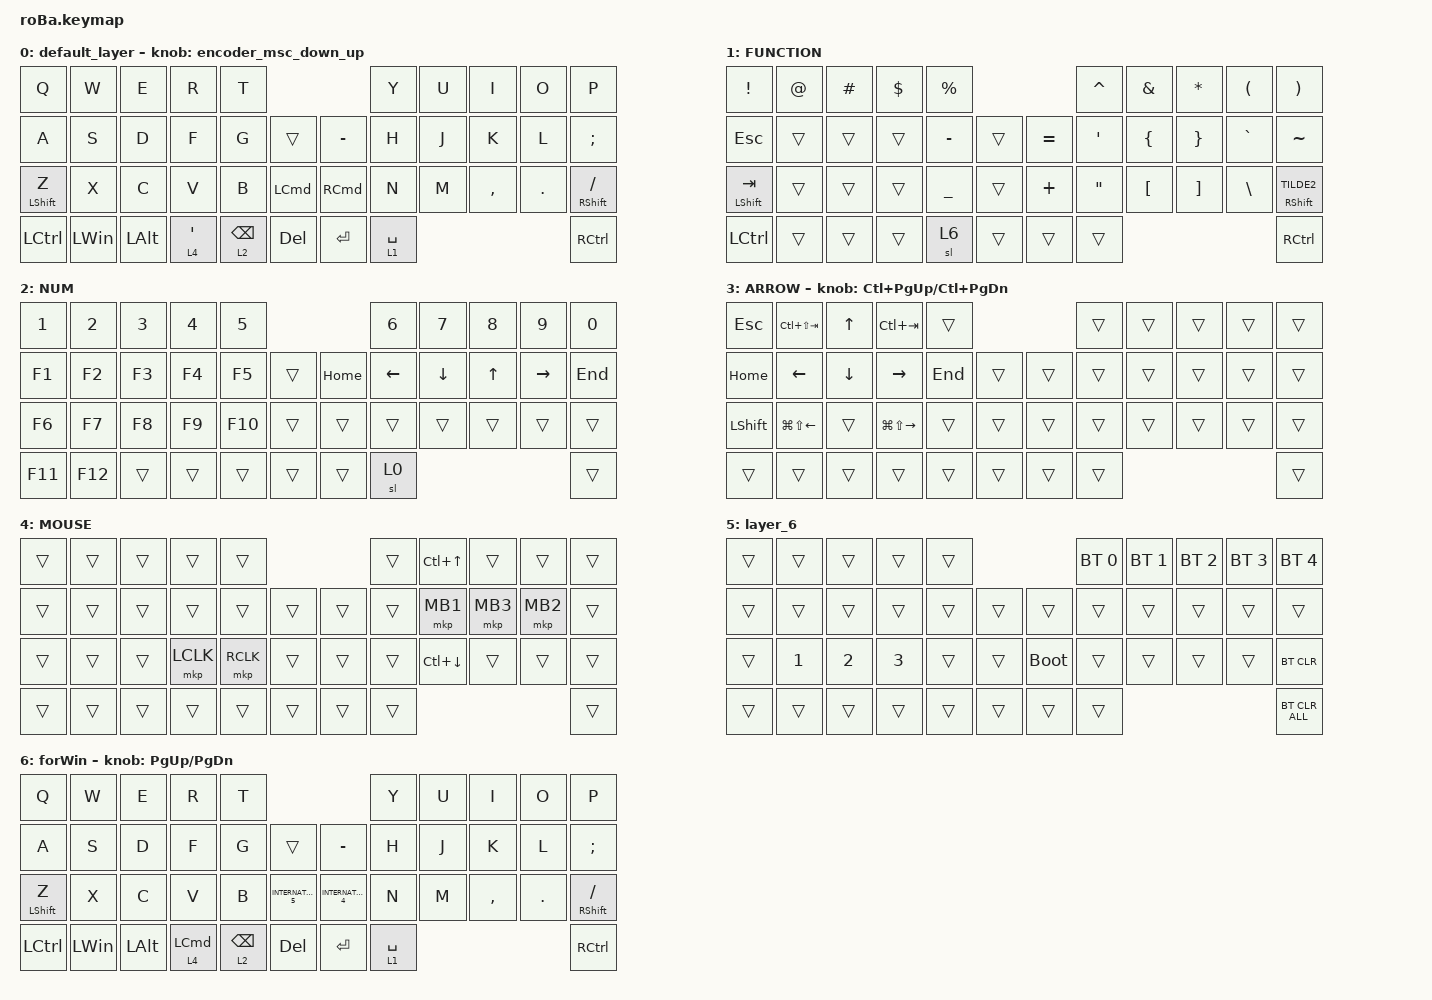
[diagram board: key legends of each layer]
#include <behaviors.dtsi>
#include <dt-bindings/zmk/bt.h>
#include <dt-bindings/zmk/keys.h>
#include <dt-bindings/zmk/pointing.h>

#define ZMK_POINTING_DEFAULT_SCRL_VAL 80

&mt {
    flavor = "balanced";
    quick-tap-ms = <0>;
};

/ {
    combos {
        compatible = "zmk,combos";

        tab {
            bindings = <&kp TAB>;
            key-positions = <11 12>;
        };

        shift_tab {
            bindings = <&kp LS(TAB)>;
            key-positions = <12 13>;
        };

        muhennkann {
            bindings = <&to_layer_0 INT_MUHENKAN>;
            key-positions = <11 10>;
        };

        double_quotation {
            bindings = <&kp DOUBLE_QUOTES>;
            key-positions = <20 21>;
        };

        eq {
            bindings = <&kp EQUAL>;
            key-positions = <24 25>;
        };
    };

    macros {
        to_layer_0: to_layer_0 {
            compatible = "zmk,behavior-macro-one-param";
            #binding-cells = <1>;
            bindings = <&to 0 &macro_param_1to1 &kp MACRO_PLACEHOLDER>;
            label = "TO_LAYER_0";
        };
    };

    behaviors {
        lt_to_layer_0: lt_to_layer_0 {
            compatible = "zmk,behavior-hold-tap";
            label = "LAYER_TAP_TO_0";
            bindings = <&mo>, <&to_layer_0>;

            #binding-cells = <2>;
            tapping-term-ms = <200>;
        };
        encoder_msc_down_up: encoder_msc_down_up {
            compatible = "zmk,behavior-sensor-rotate";
            label = "ENCODER_MSC_DOWN_UP";
            #sensor-binding-cells = <0>;
            bindings = <&msc SCRL_DOWN>, <&msc SCRL_UP>;
            tap-ms = <20>;
        };
    };

    keymap {
        compatible = "zmk,keymap";

        default_layer {
            bindings = <
&kp Q             &kp W         &kp E         &kp R               &kp T                                                     &kp Y        &kp U  &kp I      &kp O    &kp P
&kp A             &kp S         &kp D         &kp F               &kp G            &trans                &kp MINUS          &kp H        &kp J  &kp K      &kp L    &kp SEMICOLON
&mt LEFT_SHIFT Z  &kp X         &kp C         &kp V               &kp B            &kp LEFT_COMMAND      &kp RIGHT_COMMAND  &kp N        &kp M  &kp COMMA  &kp DOT  &mt RIGHT_SHIFT SLASH
&kp LCTRL         &kp LEFT_WIN  &kp LEFT_ALT  &lt 4 SINGLE_QUOTE  &lt 2 BACKSPACE  &kp DELETE            &kp ENTER          &lt 1 SPACE                             &kp RIGHT_CONTROL
            >;

            sensor-bindings = <&encoder_msc_down_up>;
        };

        FUNCTION {
            bindings = <
&kp EXCLAMATION     &kp AT_SIGN  &kp HASH  &kp DOLLAR  &kp PERCENT                            &kp CARET          &kp AMPERSAND     &kp ASTERISK       &kp LEFT_PARENTHESIS  &kp RIGHT_PARENTHESIS
&kp ESC             &trans       &trans    &trans      &kp MINUS       &trans      &kp EQUAL  &kp SINGLE_QUOTE   &kp LEFT_BRACE    &kp RIGHT_BRACE    &kp GRAVE             &kp TILDE
&mt LEFT_SHIFT TAB  &trans       &trans    &trans      &kp UNDERSCORE  &trans      &kp PLUS   &kp DOUBLE_QUOTES  &kp LEFT_BRACKET  &kp RIGHT_BRACKET  &kp BACKSLASH         &mt RIGHT_SHIFT TILDE2
&kp LEFT_CONTROL    &trans       &trans    &trans      &sl 6           &trans      &trans     &trans                                                                        &kp RIGHT_CONTROL
            >;
        };

        NUM {
            bindings = <
&kp NUMBER_1  &kp NUMBER_2  &kp NUMBER_3  &kp NUMBER_4  &kp N5                         &kp NUMBER_6    &kp N7          &kp NUMBER_8  &kp N9           &kp N0
&kp F1        &kp F2        &kp F3        &kp F4        &kp F5   &trans      &kp HOME  &kp LEFT_ARROW  &kp DOWN_ARROW  &kp UP_ARROW  &kp RIGHT_ARROW  &kp END
&kp F6        &kp F7        &kp F8        &kp F9        &kp F10  &trans      &trans    &trans          &trans          &trans        &trans           &trans
&kp F11       &kp F12       &trans        &trans        &trans   &trans      &trans    &sl 0                                                          &trans
            >;
        };

        ARROW {
            bindings = <
&kp ESCAPE      &kp LC(LS(TAB))         &kp UP_ARROW    &kp LC(TAB)              &trans                       &trans  &trans  &trans  &trans  &trans
&kp HOME        &kp LEFT_ARROW          &kp DOWN_ARROW  &kp RIGHT_ARROW          &kp END  &trans      &trans  &trans  &trans  &trans  &trans  &trans
&kp LEFT_SHIFT  &kp LG(LS(LEFT_ARROW))  &trans          &kp LG(LS(RIGHT_ARROW))  &trans   &trans      &trans  &trans  &trans  &trans  &trans  &trans
&trans          &trans                  &trans          &trans                   &trans   &trans      &trans  &trans                          &trans
            >;

            sensor-bindings = <&inc_dec_kp LC(PAGE_UP) LC(PAGE_DOWN)>;
        };

        MOUSE {
            bindings = <
&trans  &trans  &trans  &trans     &trans                         &trans  &kp LC(UP_ARROW)    &trans    &trans    &trans
&trans  &trans  &trans  &trans     &trans     &trans      &trans  &trans  &mkp MB1            &mkp MB3  &mkp MB2  &trans
&trans  &trans  &trans  &mkp LCLK  &mkp RCLK  &trans      &trans  &trans  &kp LC(DOWN_ARROW)  &trans    &trans    &trans
&trans  &trans  &trans  &trans     &trans     &trans      &trans  &trans                                          &trans
            >;
        };

        layer_6 {
            bindings = <
&trans  &trans        &trans        &trans        &trans                           &bt BT_SEL 0  &bt BT_SEL 1  &bt BT_SEL 2  &bt BT_SEL 3  &bt BT_SEL 4
&trans  &trans        &trans        &trans        &trans  &trans      &trans       &trans        &trans        &trans        &trans        &trans
&trans  &kp NUMBER_1  &kp NUMBER_2  &kp NUMBER_3  &trans  &trans      &bootloader  &trans        &trans        &trans        &trans        &bt BT_CLR
&trans  &trans        &trans        &trans        &trans  &trans      &trans       &trans                                                  &bt BT_CLR_ALL
            >;
        };

        forWin {
            bindings = <
&kp Q             &kp W         &kp E         &kp R                          &kp T                                                          &kp Y        &kp U  &kp I      &kp O    &kp P
&kp A             &kp S         &kp D         &kp F                          &kp G            &trans                   &kp MINUS            &kp H        &kp J  &kp K      &kp L    &kp SEMICOLON
&mt LEFT_SHIFT Z  &kp X         &kp C         &kp V                          &kp B            &kp INTERNATIONAL_5      &kp INTERNATIONAL_4  &kp N        &kp M  &kp COMMA  &kp DOT  &mt RIGHT_SHIFT SLASH
&kp LCTRL         &kp LEFT_WIN  &kp LEFT_ALT  &lt_to_layer_0 4 LEFT_COMMAND  &lt 2 BACKSPACE  &kp DELETE               &kp ENTER            &lt 1 SPACE                             &kp RIGHT_CONTROL
            >;

            sensor-bindings = <&inc_dec_kp PG_UP PAGE_DOWN>;
        };
    };
};
